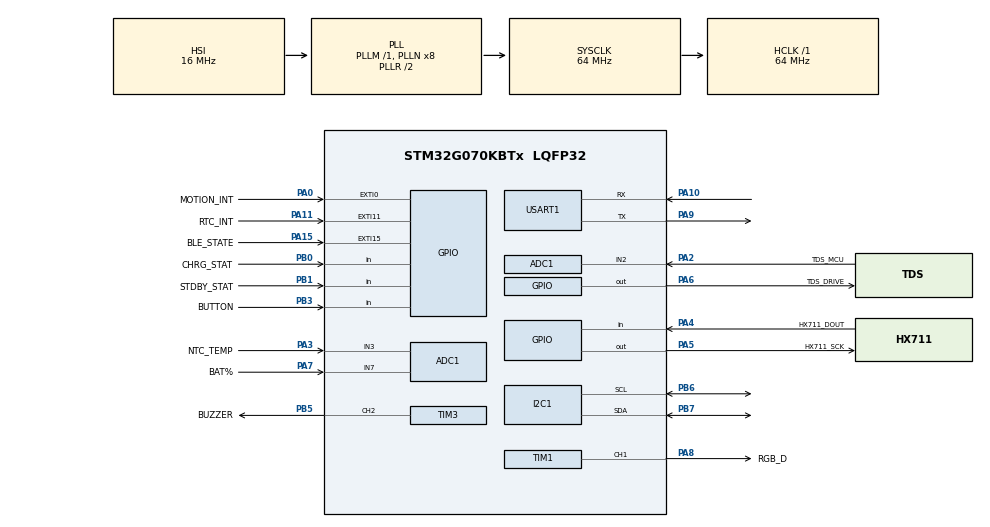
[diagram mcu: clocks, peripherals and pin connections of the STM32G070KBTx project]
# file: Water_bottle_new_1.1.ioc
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ADC1.Channel-0\#ChannelRegularConversion=ADC_CHANNEL_2
ADC1.NbrOfConversionFlag=1
ADC1.Rank-0\#ChannelRegularConversion=1
ADC1.SamplingTime-0\#ChannelRegularConversion=ADC_SAMPLINGTIME_COMMON_1
ADC1.SelectedChannel=ADC_CHANNEL_2|ADC_CHANNEL_3|ADC_CHANNEL_7
ADC1.master=1
I2C1.Timing=0x10B17DB5
Mcu.Family=STM32G0
Mcu.Name=STM32G070KBTx
Mcu.Package=LQFP32
PA0.GPIO_Label=MOTION_INT
PA0.Signal=GPXTI0
PA10.Mode=Asynchronous
PA10.Signal=USART1_RX
PA11\ [PA9].GPIO_Label=RTC_INT
PA11\ [PA9].Signal=GPXTI11
PA13.Mode=Serial_Wire
PA13.Signal=SYS_SWDIO
PA14-BOOT0.Mode=Serial_Wire
PA14-BOOT0.Signal=SYS_SWCLK
PA15.GPIO_Label=BLE_STATE
PA15.Signal=GPXTI15
PA2.GPIO_Label=TDS_MCU
PA2.Mode=IN2
PA2.Signal=ADC1_IN2
PA3.GPIO_Label=NTC_TEMP
PA3.Mode=IN3
PA3.Signal=ADC1_IN3
PA4.GPIO_Label=HX711_DOUT 
PA4.Signal=GPIO_Input
PA5.GPIO_Label=HX711_SCK
PA5.Signal=GPIO_Output
PA6.GPIO_Label=TDS_DRIVE
PA6.Signal=GPIO_Output
PA7.GPIO_Label=BAT%
PA7.Mode=IN7
PA7.Signal=ADC1_IN7
PA8.GPIO_Label=RGB_D 
PA8.Signal=S_TIM1_CH1
PA9.Mode=Asynchronous
PA9.Signal=USART1_TX
PB0.GPIO_Label=CHRG_STAT
PB0.Signal=GPIO_Input
PB1.GPIO_Label=STDBY_STAT
PB1.Signal=GPIO_Input
PB3.GPIO_Label=BUTTON
PB3.Signal=GPIO_Input
PB5.GPIO_Label=BUZZER 
PB5.Signal=S_TIM3_CH2
PB6.Mode=I2C
PB6.Signal=I2C1_SCL
PB7.Mode=I2C
PB7.Signal=I2C1_SDA
ProjectManager.HeapSize=0x200
ProjectManager.StackSize=0x400
ProjectManager.TargetToolchain=STM32CubeIDE
RCC.ADCFreq_Value=64000000
RCC.AHBFreq_Value=64000000
RCC.CortexFreq_Value=64000000
RCC.EXTERNAL_CLOCK_VALUE=48000
RCC.HCLKFreq_Value=64000000
RCC.HSE_VALUE=8000000
RCC.HSI_VALUE=16000000
RCC.LSE_VALUE=32768
RCC.SYSCLKFreq_VALUE=64000000
RCC.SYSCLKSource=RCC_SYSCLKSOURCE_PLLCLK
RCC.VCOOutputFreq_Value=128000000
SH.S_TIM1_CH1.0=TIM1_CH1,Output Compare1 CH1
SH.S_TIM3_CH2.0=TIM3_CH2,Output Compare2 CH2
TIM1.Channel-Output\ Compare1\ CH1=TIM_CHANNEL_1
TIM3.Channel-Output\ Compare2\ CH2=TIM_CHANNEL_2
USART1.VirtualMode-Asynchronous=VM_ASYNC
VP_TIM1_VS_ClockSourceITR.Mode=TriggerSource_ITR1
VP_TIM1_VS_ControllerModeClock.Mode=Clock Mode
VP_TIM3_VS_ClockSourceITR.Mode=TriggerSource_ITR3
board=custom

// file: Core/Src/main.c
/* USER CODE BEGIN Header */
/**
  ******************************************************************************
  * @file           : main.c
  * @brief          : HydraSense Smart Unit — Main application entry point
  *                   STM32G070KBT6 @ 64 MHz (HSI16 + PLL)   [ported from F030]
  *
  *  Build modes (compile-time switches, set ONE in your project defines):
  *    COMPONENT_TEST_MODE  -> per-peripheral test harness (component_test.c),
  *                            comment/uncomment the TEST_* defines in
  *                            component_test.h to pick which parts run.
  *    BRINGUP_TEST_MODE     -> legacy RGB+NTC+TDS+HX711 self-test (bringup_test.c)
  *    (neither defined)      -> full application (App_Init / App_Run).
  *
  *  Migration notes (F030K6T6 -> G070KBT6):
  *    - SystemClock 48 MHz (PLL x12) -> 64 MHz (HSI16, PLLN=8, /2).
  *    - Flash 32 KB/1 KB pages -> 128 KB/2 KB pages, doubleword programming
  *      (see data_storage.c / data_storage.h).
  *    - WS2812B bit timing retuned for 64 MHz (ARR 59->79, T0H/T1H).
  *    - Buzzer TIM3 prescaler 47 -> 63 (still 1 MHz timer clock).
  *    - I2C1 timing word -> 0x10B17DB5 (100 kHz @ 64 MHz).
  *    - WS2812B DMA on DMA1_Channel1 via DMAMUX (DMA_REQUEST_TIM1_CH1).
  *    - ADC sampling moved to the G0 "common sampling time" model.
  *    - EXTI wiring kept as in production: PA11 RTC 1 Hz tick + PA15 BLE
  *      link-state (NOT the IMU motion line). Drink detection is weight-based.
  ******************************************************************************
  */
/* USER CODE END Header */
#include "main.h"

/* USER CODE BEGIN Includes */
#include "ws2812b.h"
#include "buzzer.h"
#include "hx711.h"
#include "tds_sensor.h"
#include "ntc_temp.h"
#include "battery.h"
#include "bma253.h"
#include "ble_jdy29.h"
#include "ble_protocol.h"
#include "rtc_manager.h"
#include "data_storage.h"
#include "device_state.h"
#include "app_logic.h"
#include "bringup_test.h"
#include "component_test.h"
/* USER CODE END Includes */

ADC_HandleTypeDef hadc1;

I2C_HandleTypeDef hi2c1;

TIM_HandleTypeDef htim1;
TIM_HandleTypeDef htim3;

UART_HandleTypeDef huart1;

/* WS2812B drives TIM1_CH1 by DMA. This handle is linked to htim1 in
 * HAL_TIM_Base_MspInit() (stm32g0xx_hal_msp.c) and serviced by
 * DMA1_Channel1_IRQHandler() (stm32g0xx_it.c). */
DMA_HandleTypeDef hdma_tim1_ch1;

void SystemClock_Config(void);
static void MX_GPIO_Init(void);
static void MX_DMA_Init(void);
static void MX_ADC1_Init(void);
static void MX_I2C1_Init(void);
static void MX_TIM1_Init(void);
static void MX_TIM3_Init(void);
static void MX_USART1_UART_Init(void);

int main(void)
{

  /* MCU Configuration--------------------------------------------------------*/

  /* Reset of all peripherals, Initializes the Flash interface and the Systick. */
  HAL_Init();

  /* Configure the system clock */
  SystemClock_Config();

  /* Initialize all configured peripherals */
  MX_GPIO_Init();
  MX_DMA_Init();          /* DMA controller must be up before TIM1 PWM-DMA */
  MX_ADC1_Init();
  MX_I2C1_Init();
  MX_TIM1_Init();
  MX_TIM3_Init();
  MX_USART1_UART_Init();
  /* USER CODE BEGIN 2 */

  /* G0 ADC requires a one-off calibration before the first conversion. */
  HAL_ADCEx_Calibration_Start(&hadc1);

#if defined(COMPONENT_TEST_MODE)
  /* ── PER-COMPONENT TEST HARNESS ──────────────────────────────────────
   * Edit component_test.h: comment/uncomment the TEST_<PART> defines to
   * choose which peripherals are exercised. Results land in g_ctest
   * (add to STM32CubeIDE -> Live Expressions) and on the WS2812B ring. */
  CTest_Init(&hadc1, &hi2c1, &huart1, &htim1, &htim3);
  CTest_RunOnce();
#elif defined(BRINGUP_TEST_MODE)
  /* ── LEGACY RGB + NTC + TDS + HX711 self-test ───────────────────────── */
  BringUp_Init(&hadc1, &htim1);
  BringUp_RunOnce();
#else
  /* ── FULL APPLICATION ────────────────────────────────────────────────
   *  hadc  : TDS(CH2/PA2) + NTC(CH3/PA3) + Battery(CH7/PA7)
   *  hi2c1 : BMA253 0x18, PCF8563 0x51, M24512 0x50
   *  huart1: JDY-29 BLE @ 9600
   *  htim1 : WS2812B  (TIM1_CH1 + DMA1_Channel1)
   *  htim3 : Buzzer   (TIM3_CH2 PWM) */
  App_Init(&hadc1, &hi2c1, &huart1, &htim1, &htim3);
#endif

  /* USER CODE END 2 */

  /* Infinite loop */
  while (1)
  {

    /* USER CODE BEGIN 3 */
#if defined(COMPONENT_TEST_MODE)
    CTest_RunLoop();
#elif defined(BRINGUP_TEST_MODE)
    BringUp_RunLoop();
#else
    App_Run();
#endif
  }
  /* USER CODE END 3 */
}

void SystemClock_Config(void)
{
  RCC_OscInitTypeDef RCC_OscInitStruct = {0};
  RCC_ClkInitTypeDef RCC_ClkInitStruct = {0};

  /** Configure the main internal regulator output voltage
  */
  HAL_PWREx_ControlVoltageScaling(PWR_REGULATOR_VOLTAGE_SCALE1);

  /** Initializes the RCC Oscillators according to the specified parameters
  * in the RCC_OscInitTypeDef structure.
  */
  RCC_OscInitStruct.OscillatorType = RCC_OSCILLATORTYPE_HSI;
  RCC_OscInitStruct.HSIState = RCC_HSI_ON;
  RCC_OscInitStruct.HSIDiv = RCC_HSI_DIV1;
  RCC_OscInitStruct.HSICalibrationValue = RCC_HSICALIBRATION_DEFAULT;
  RCC_OscInitStruct.PLL.PLLState = RCC_PLL_ON;
  RCC_OscInitStruct.PLL.PLLSource = RCC_PLLSOURCE_HSI;
  RCC_OscInitStruct.PLL.PLLM = RCC_PLLM_DIV1;
  RCC_OscInitStruct.PLL.PLLN = 8;
  RCC_OscInitStruct.PLL.PLLP = RCC_PLLP_DIV2;
  RCC_OscInitStruct.PLL.PLLR = RCC_PLLR_DIV2;
  if (HAL_RCC_OscConfig(&RCC_OscInitStruct) != HAL_OK)
  {
    Error_Handler();
  }

  /** Initializes the CPU, AHB and APB buses clocks
  */
  RCC_ClkInitStruct.ClockType = RCC_CLOCKTYPE_HCLK|RCC_CLOCKTYPE_SYSCLK
                              |RCC_CLOCKTYPE_PCLK1;
  RCC_ClkInitStruct.SYSCLKSource = RCC_SYSCLKSOURCE_PLLCLK;
  RCC_ClkInitStruct.AHBCLKDivider = RCC_SYSCLK_DIV1;
  RCC_ClkInitStruct.APB1CLKDivider = RCC_HCLK_DIV1;

  if (HAL_RCC_ClockConfig(&RCC_ClkInitStruct, FLASH_LATENCY_2) != HAL_OK)
  {
    Error_Handler();
  }
}

static void MX_ADC1_Init(void)
{

  ADC_ChannelConfTypeDef sConfig = {0};

  /** Configure the global features of the ADC (Clock, Resolution, Data Alignment and number of conversion)
  */
  hadc1.Instance = ADC1;
  hadc1.Init.ClockPrescaler = ADC_CLOCK_SYNC_PCLK_DIV2;
  hadc1.Init.Resolution = ADC_RESOLUTION_12B;
  hadc1.Init.DataAlign = ADC_DATAALIGN_RIGHT;
  hadc1.Init.ScanConvMode = ADC_SCAN_DISABLE;
  hadc1.Init.EOCSelection = ADC_EOC_SINGLE_CONV;
  hadc1.Init.LowPowerAutoWait = DISABLE;
  hadc1.Init.LowPowerAutoPowerOff = DISABLE;
  hadc1.Init.ContinuousConvMode = DISABLE;
  hadc1.Init.NbrOfConversion = 1;
  hadc1.Init.DiscontinuousConvMode = DISABLE;
  hadc1.Init.ExternalTrigConv = ADC_SOFTWARE_START;
  hadc1.Init.ExternalTrigConvEdge = ADC_EXTERNALTRIGCONVEDGE_NONE;
  hadc1.Init.DMAContinuousRequests = DISABLE;
  hadc1.Init.Overrun = ADC_OVR_DATA_PRESERVED;
  hadc1.Init.SamplingTimeCommon1 = ADC_SAMPLETIME_1CYCLE_5;
  hadc1.Init.SamplingTimeCommon2 = ADC_SAMPLETIME_1CYCLE_5;
  hadc1.Init.OversamplingMode = DISABLE;
  hadc1.Init.TriggerFrequencyMode = ADC_TRIGGER_FREQ_HIGH;
  if (HAL_ADC_Init(&hadc1) != HAL_OK)
  {
    Error_Handler();
  }

  /** Configure Regular Channel
  */
  sConfig.Channel = ADC_CHANNEL_2;
  sConfig.Rank = ADC_REGULAR_RANK_1;
  sConfig.SamplingTime = ADC_SAMPLINGTIME_COMMON_1;
  if (HAL_ADC_ConfigChannel(&hadc1, &sConfig) != HAL_OK)
  {
    Error_Handler();
  }

}

static void MX_I2C1_Init(void)
{

  hi2c1.Instance = I2C1;
  hi2c1.Init.Timing = 0x10B17DB5;
  hi2c1.Init.OwnAddress1 = 0;
  hi2c1.Init.AddressingMode = I2C_ADDRESSINGMODE_7BIT;
  hi2c1.Init.DualAddressMode = I2C_DUALADDRESS_DISABLE;
  hi2c1.Init.OwnAddress2 = 0;
  hi2c1.Init.OwnAddress2Masks = I2C_OA2_NOMASK;
  hi2c1.Init.GeneralCallMode = I2C_GENERALCALL_DISABLE;
  hi2c1.Init.NoStretchMode = I2C_NOSTRETCH_DISABLE;
  if (HAL_I2C_Init(&hi2c1) != HAL_OK)
  {
    Error_Handler();
  }

  /** Configure Analogue filter
  */
  if (HAL_I2CEx_ConfigAnalogFilter(&hi2c1, I2C_ANALOGFILTER_ENABLE) != HAL_OK)
  {
    Error_Handler();
  }

  /** Configure Digital filter
  */
  if (HAL_I2CEx_ConfigDigitalFilter(&hi2c1, 0) != HAL_OK)
  {
    Error_Handler();
  }

}

static void MX_TIM1_Init(void)
{

  TIM_SlaveConfigTypeDef sSlaveConfig = {0};
  TIM_MasterConfigTypeDef sMasterConfig = {0};
  TIM_OC_InitTypeDef sConfigOC = {0};
  TIM_BreakDeadTimeConfigTypeDef sBreakDeadTimeConfig = {0};

  htim1.Instance = TIM1;
  htim1.Init.Prescaler = 0;
  htim1.Init.CounterMode = TIM_COUNTERMODE_UP;
  htim1.Init.Period = 65535;
  htim1.Init.ClockDivision = TIM_CLOCKDIVISION_DIV1;
  htim1.Init.RepetitionCounter = 0;
  htim1.Init.AutoReloadPreload = TIM_AUTORELOAD_PRELOAD_DISABLE;
  if (HAL_TIM_Base_Init(&htim1) != HAL_OK)
  {
    Error_Handler();
  }
  if (HAL_TIM_OC_Init(&htim1) != HAL_OK)
  {
    Error_Handler();
  }
  sSlaveConfig.SlaveMode = TIM_SLAVEMODE_EXTERNAL1;
  sSlaveConfig.InputTrigger = TIM_TS_ITR1;
  if (HAL_TIM_SlaveConfigSynchro(&htim1, &sSlaveConfig) != HAL_OK)
  {
    Error_Handler();
  }
  sMasterConfig.MasterOutputTrigger = TIM_TRGO_RESET;
  sMasterConfig.MasterOutputTrigger2 = TIM_TRGO2_RESET;
  sMasterConfig.MasterSlaveMode = TIM_MASTERSLAVEMODE_DISABLE;
  if (HAL_TIMEx_MasterConfigSynchronization(&htim1, &sMasterConfig) != HAL_OK)
  {
    Error_Handler();
  }
  sConfigOC.OCMode = TIM_OCMODE_TIMING;
  sConfigOC.Pulse = 0;
  sConfigOC.OCPolarity = TIM_OCPOLARITY_HIGH;
  sConfigOC.OCNPolarity = TIM_OCNPOLARITY_HIGH;
  sConfigOC.OCFastMode = TIM_OCFAST_DISABLE;
  sConfigOC.OCIdleState = TIM_OCIDLESTATE_RESET;
  sConfigOC.OCNIdleState = TIM_OCNIDLESTATE_RESET;
  if (HAL_TIM_OC_ConfigChannel(&htim1, &sConfigOC, TIM_CHANNEL_1) != HAL_OK)
  {
    Error_Handler();
  }
  sBreakDeadTimeConfig.OffStateRunMode = TIM_OSSR_DISABLE;
  sBreakDeadTimeConfig.OffStateIDLEMode = TIM_OSSI_DISABLE;
  sBreakDeadTimeConfig.LockLevel = TIM_LOCKLEVEL_OFF;
  sBreakDeadTimeConfig.DeadTime = 0;
  sBreakDeadTimeConfig.BreakState = TIM_BREAK_DISABLE;
  sBreakDeadTimeConfig.BreakPolarity = TIM_BREAKPOLARITY_HIGH;
  sBreakDeadTimeConfig.BreakFilter = 0;
  sBreakDeadTimeConfig.BreakAFMode = TIM_BREAK_AFMODE_INPUT;
  sBreakDeadTimeConfig.Break2State = TIM_BREAK2_DISABLE;
  sBreakDeadTimeConfig.Break2Polarity = TIM_BREAK2POLARITY_HIGH;
  sBreakDeadTimeConfig.Break2Filter = 0;
  sBreakDeadTimeConfig.Break2AFMode = TIM_BREAK_AFMODE_INPUT;
  sBreakDeadTimeConfig.AutomaticOutput = TIM_AUTOMATICOUTPUT_DISABLE;
  if (HAL_TIMEx_ConfigBreakDeadTime(&htim1, &sBreakDeadTimeConfig) != HAL_OK)
  {
    Error_Handler();
  }
  HAL_TIM_MspPostInit(&htim1);

}

static void MX_TIM3_Init(void)
{

  TIM_SlaveConfigTypeDef sSlaveConfig = {0};
  TIM_MasterConfigTypeDef sMasterConfig = {0};
  TIM_OC_InitTypeDef sConfigOC = {0};

  htim3.Instance = TIM3;
  htim3.Init.Prescaler = 0;
  htim3.Init.CounterMode = TIM_COUNTERMODE_UP;
  htim3.Init.Period = 65535;
  htim3.Init.ClockDivision = TIM_CLOCKDIVISION_DIV1;
  htim3.Init.AutoReloadPreload = TIM_AUTORELOAD_PRELOAD_DISABLE;
  if (HAL_TIM_Base_Init(&htim3) != HAL_OK)
  {
    Error_Handler();
  }
  if (HAL_TIM_OC_Init(&htim3) != HAL_OK)
  {
    Error_Handler();
  }
  sSlaveConfig.SlaveMode = TIM_SLAVEMODE_DISABLE;
  sSlaveConfig.InputTrigger = TIM_TS_ITR3;
  if (HAL_TIM_SlaveConfigSynchro(&htim3, &sSlaveConfig) != HAL_OK)
  {
    Error_Handler();
  }
  sMasterConfig.MasterOutputTrigger = TIM_TRGO_RESET;
  sMasterConfig.MasterSlaveMode = TIM_MASTERSLAVEMODE_DISABLE;
  if (HAL_TIMEx_MasterConfigSynchronization(&htim3, &sMasterConfig) != HAL_OK)
  {
    Error_Handler();
  }
  sConfigOC.OCMode = TIM_OCMODE_TIMING;
  sConfigOC.Pulse = 0;
  sConfigOC.OCPolarity = TIM_OCPOLARITY_HIGH;
  sConfigOC.OCFastMode = TIM_OCFAST_DISABLE;
  if (HAL_TIM_OC_ConfigChannel(&htim3, &sConfigOC, TIM_CHANNEL_2) != HAL_OK)
  {
    Error_Handler();
  }
  HAL_TIM_MspPostInit(&htim3);

}

static void MX_USART1_UART_Init(void)
{

  huart1.Instance = USART1;
  huart1.Init.BaudRate = 115200;
  huart1.Init.WordLength = UART_WORDLENGTH_8B;
  huart1.Init.StopBits = UART_STOPBITS_1;
  huart1.Init.Parity = UART_PARITY_NONE;
  huart1.Init.Mode = UART_MODE_TX_RX;
  huart1.Init.HwFlowCtl = UART_HWCONTROL_NONE;
  huart1.Init.OverSampling = UART_OVERSAMPLING_16;
  huart1.Init.OneBitSampling = UART_ONE_BIT_SAMPLE_DISABLE;
  huart1.Init.ClockPrescaler = UART_PRESCALER_DIV1;
  huart1.AdvancedInit.AdvFeatureInit = UART_ADVFEATURE_NO_INIT;
  if (HAL_UART_Init(&huart1) != HAL_OK)
  {
    Error_Handler();
  }
  if (HAL_UARTEx_SetTxFifoThreshold(&huart1, UART_TXFIFO_THRESHOLD_1_8) != HAL_OK)
  {
    Error_Handler();
  }
  if (HAL_UARTEx_SetRxFifoThreshold(&huart1, UART_RXFIFO_THRESHOLD_1_8) != HAL_OK)
  {
    Error_Handler();
  }
  if (HAL_UARTEx_DisableFifoMode(&huart1) != HAL_OK)
  {
    Error_Handler();
  }

}

/**
  * @brief  DMA controller clock + NVIC init (WS2812B on DMA1_Channel1).
  * @note   The DMA1_Channel1 → TIM1_CH1 stream itself is configured in
  *         HAL_TIM_Base_MspInit(); here we only enable the controller clock
  *         and its interrupt line so the PWM-DMA transfer-complete callback
  *         (HAL_TIM_PWM_PulseFinishedCallback) fires.
  * @retval None
  */
static void MX_DMA_Init(void)
{
  /* DMAMUX shares the DMA1 clock domain on STM32G0. */
  __HAL_RCC_DMA1_CLK_ENABLE();

  HAL_NVIC_SetPriority(DMA1_Channel1_IRQn, 1, 0);
  HAL_NVIC_EnableIRQ(DMA1_Channel1_IRQn);
}

static void MX_GPIO_Init(void)
{
  GPIO_InitTypeDef GPIO_InitStruct = {0};

  /* GPIO Ports Clock Enable */
  __HAL_RCC_GPIOA_CLK_ENABLE();
  __HAL_RCC_GPIOB_CLK_ENABLE();

  /*Configure GPIO pin Output Level */
  HAL_GPIO_WritePin(GPIOA, HX711_SCK_Pin|TDS_DRIVE_Pin, GPIO_PIN_RESET);

  /*Configure GPIO pins : MOTION_INT_Pin RTC_INT_Pin BLE_STATE_Pin */
  GPIO_InitStruct.Pin = MOTION_INT_Pin|RTC_INT_Pin|BLE_STATE_Pin;
  GPIO_InitStruct.Mode = GPIO_MODE_IT_RISING;
  GPIO_InitStruct.Pull = GPIO_NOPULL;
  HAL_GPIO_Init(GPIOA, &GPIO_InitStruct);

  /*Configure GPIO pin : HX711_DOUT_Pin */
  GPIO_InitStruct.Pin = HX711_DOUT_Pin;
  GPIO_InitStruct.Mode = GPIO_MODE_INPUT;
  GPIO_InitStruct.Pull = GPIO_NOPULL;
  HAL_GPIO_Init(HX711_DOUT_GPIO_Port, &GPIO_InitStruct);

  /*Configure GPIO pins : HX711_SCK_Pin TDS_DRIVE_Pin */
  GPIO_InitStruct.Pin = HX711_SCK_Pin|TDS_DRIVE_Pin;
  GPIO_InitStruct.Mode = GPIO_MODE_OUTPUT_PP;
  GPIO_InitStruct.Pull = GPIO_NOPULL;
  GPIO_InitStruct.Speed = GPIO_SPEED_FREQ_LOW;
  HAL_GPIO_Init(GPIOA, &GPIO_InitStruct);

  /*Configure GPIO pins : CHRG_STAT_Pin STDBY_STAT_Pin (TP4056 status inputs) */
  GPIO_InitStruct.Pin = CHRG_STAT_Pin|STDBY_STAT_Pin;
  GPIO_InitStruct.Mode = GPIO_MODE_INPUT;
  GPIO_InitStruct.Pull = GPIO_NOPULL;
  HAL_GPIO_Init(GPIOB, &GPIO_InitStruct);

  /*Configure GPIO pin : BUTTON_Pin (PB3) — EXTI falling so a press wakes the
   * MCU from STOP sleep; pull-up so an idle button reads HIGH (active-low). */
  GPIO_InitStruct.Pin  = BUTTON_Pin;
  GPIO_InitStruct.Mode = GPIO_MODE_IT_FALLING;
  GPIO_InitStruct.Pull = GPIO_PULLUP;
  HAL_GPIO_Init(BUTTON_GPIO_Port, &GPIO_InitStruct);

  /* USER CODE BEGIN MX_GPIO_Init_2 */
  /* EXTI NVIC — none of these were enabled in the original export, so the
   * BLE link line, RTC 1 Hz tick, IMU motion and button all did nothing.
   *   EXTI0_1  : PA0  BMA253 motion (wake)
   *   EXTI2_3  : PB3  button        (wake)
   *   EXTI4_15 : PA11 RTC tick + PA15 BLE link */
  HAL_NVIC_SetPriority(EXTI0_1_IRQn, 2, 0);
  HAL_NVIC_EnableIRQ(EXTI0_1_IRQn);
  HAL_NVIC_SetPriority(EXTI2_3_IRQn, 2, 0);
  HAL_NVIC_EnableIRQ(EXTI2_3_IRQn);
  HAL_NVIC_SetPriority(EXTI4_15_IRQn, 2, 0);
  HAL_NVIC_EnableIRQ(EXTI4_15_IRQn);
  /* USER CODE END MX_GPIO_Init_2 */
}

/* USER CODE BEGIN 4 */

/* ── Application-wide HAL callbacks ───────────────────────────────────────
 * Forward hardware interrupts to the right place. In the full app they drive
 * the application modules; in COMPONENT_TEST_MODE they feed the test harness
 * (so the BLE RX / RTC tick / motion tests see live interrupts). The legacy
 * BRINGUP_TEST_MODE polls everything, so it needs none of these. */
#if !defined(BRINGUP_TEST_MODE)

void HAL_GPIO_EXTI_Rising_Callback(uint16_t GPIO_Pin)
{
#if defined(COMPONENT_TEST_MODE)
  if (GPIO_Pin == RTC_INT_Pin)        CTest_RTC_TickISR();
  else if (GPIO_Pin == MOTION_INT_Pin) CTest_Motion_ISR();
#else
  if (GPIO_Pin == RTC_INT_Pin)         App_RTC_TickISR();
  else if (GPIO_Pin == MOTION_INT_Pin) App_MotionISR();   /* PA0 BMA253 wake */
  else if (GPIO_Pin == BLE_STATE_Pin)  App_BLE_LinkISR();
#endif
}

void HAL_GPIO_EXTI_Falling_Callback(uint16_t GPIO_Pin)
{
#if !defined(COMPONENT_TEST_MODE)
  if (GPIO_Pin == BLE_STATE_Pin)      App_BLE_LinkISR();
  else if (GPIO_Pin == BUTTON_Pin)    App_ButtonWakeISR();  /* PB3 wake */
#else
  (void)GPIO_Pin;
#endif
}

void HAL_UART_RxCpltCallback(UART_HandleTypeDef *huart)
{
  if (huart->Instance == USART1)
#if defined(COMPONENT_TEST_MODE)
    CTest_BLE_RxISR();
#else
    App_BLE_RxISR();
#endif
}

#endif /* !BRINGUP_TEST_MODE */

/* USER CODE END 4 */

void Error_Handler(void)
{
  __disable_irq();
  while (1)
  {
  }
}
